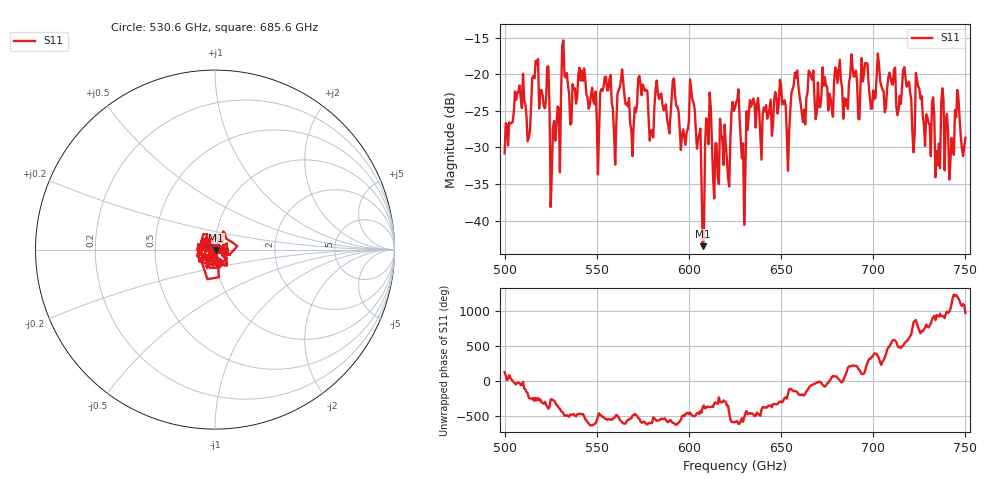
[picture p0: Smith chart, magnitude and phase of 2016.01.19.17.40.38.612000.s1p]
!Created with skrf (http://scikit-rf.org).
# GHz S RI R 50.0
!freq ReS11 ImS11
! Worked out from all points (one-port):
!   401 points, 500 GHz to 750 GHz, reference 50 ohm
!   lowest |S11| = -43.5 dB at 607.5 GHz (marker M1), VSWR 1.01, Z = 50.7 - j0.169 ohm
!   |S11| at or under -10 dB: start of sweep to end of sweep
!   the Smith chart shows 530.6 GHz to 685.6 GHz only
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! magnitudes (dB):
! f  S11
! 500 GHz  -30.8
! 506.9 GHz  -22.6
! 513.1 GHz  -28.7
! 516.9 GHz  -18.2
! 526.2 GHz  -27.3
! 531.2 GHz  -16.2
! 550 GHz  -26.2
! 556.2 GHz  -22.2
! 559.4 GHz  -28.1
! 562.5 GHz  -21.8
! 569.4 GHz  -31.2
! 573.8 GHz  -21.5
! 579.4 GHz  -27.7
! 593.8 GHz  -24.4
! 601.9 GHz  -23.5
! 607.5 GHz  -43.5
! 610.6 GHz  -29.6
! 615 GHz  -29.5
! 625 GHz  -24.6
! 629.4 GHz  -29.4
! 633.8 GHz  -24.4
! 653.8 GHz  -33.2
! 656.2 GHz  -22.0
! 687.5 GHz  -20.3
! 718.8 GHz  -21.3
! 735 GHz  -32.5
! 745.6 GHz  -22.1
! 750 GHz  -28.7
